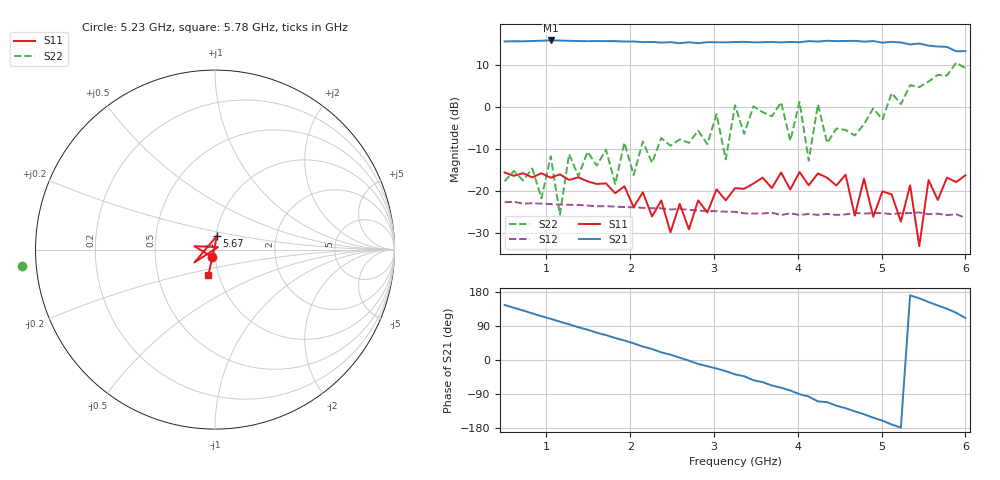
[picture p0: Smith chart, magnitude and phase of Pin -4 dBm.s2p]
! RsaToolbox (C) 2015 Rohde & Schwarz America
! Number of points: 51
! Number of ports: 2
! Balanced ports?: No
# Hz S RI R 50
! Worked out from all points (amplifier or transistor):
!   51 points, 500 MHz to 6 GHz, reference 50 ohm
!   highest |S21| = 15.8 dB at 1.05 GHz (marker M1)
!   |S21| within 3 dB of that: start of sweep to end of sweep
!   unconditionally stable (mu >= 1): start of sweep to 3.004 GHz; 3.046 GHz to 3.219 GHz; 4.288 GHz to 4.803 GHz (the widest 3 of 6)
!   at 1.38 GHz: K = 1.35, MAG = 15.9 dB, |S12| = -23.3 dB
!   at 3.25 GHz: K = 0.08, MSG = 20.2 dB, |S12| = -24.9 dB
!   at 6 GHz: K = -15.75, MSG = 19.8 dB, |S12| = -26.4 dB
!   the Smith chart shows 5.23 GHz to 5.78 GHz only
!   S11 on the Smith chart (normalised r, x): 5.23 GHz: 0.97, -0.08; 5.67 GHz: 1.01, +0.16; 5.78 GHz: 0.90, -0.26
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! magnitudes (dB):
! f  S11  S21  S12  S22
! 500 MHz  -15.6  15.5  -22.7  -17.7
! 940 MHz  -15.8  15.7  -23.0  -21.7
! 1.05 GHz  -16.8  15.8  -23.1  -11.7
! 1.16 GHz  -16.0  15.8  -23.2  -25.6
! 1.27 GHz  -17.4  15.7  -23.3  -11.2
! 1.49 GHz  -17.7  15.6  -23.4  -10.7
! 1.82 GHz  -20.5  15.6  -23.7  -18.3
! 2.37 GHz  -22.2  15.3  -24.1  -7.4
! 3.03 GHz  -19.6  15.3  -24.8  -1.7
! 3.14 GHz  -22.2  15.3  -24.9  -12.5
! 3.25 GHz  -19.3  15.4  -24.9  0.4
! 3.91 GHz  -19.6  15.4  -25.3  -8.1
! 4.02 GHz  -15.5  15.4  -25.7  1.2
! 4.13 GHz  -18.6  15.6  -25.5  -12.8
! 4.24 GHz  -15.8  15.5  -25.6  0.6
! 4.35 GHz  -16.8  15.7  -25.4  -8.6
! 5.12 GHz  -20.8  15.4  -25.5  3.3
! 5.23 GHz  -27.3  15.3  -25.2  0.6
! 5.45 GHz  -33.1  15.1  -25.1  4.7
! 5.67 GHz  -22.1  14.3  -25.4  7.6
! 5.78 GHz  -16.8  14.3  -25.7  7.5
! 6 GHz  -16.3  13.2  -26.4  9.2
